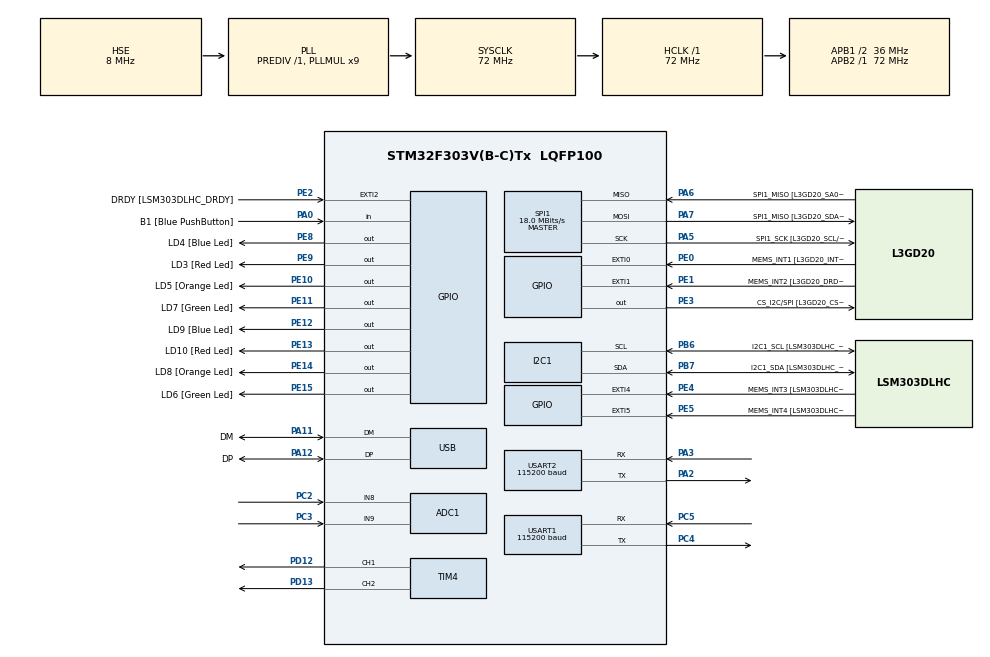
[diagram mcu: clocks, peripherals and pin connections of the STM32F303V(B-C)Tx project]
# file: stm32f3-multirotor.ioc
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ADC1.Channel-0\#ChannelRegularConversion=ADC_CHANNEL_9
ADC1.NbrOfConversionFlag=1
ADC1.Offset-0\#ChannelRegularConversion=0
ADC1.OffsetNumber-0\#ChannelRegularConversion=ADC_OFFSET_NONE
ADC1.Rank-0\#ChannelRegularConversion=1
ADC1.SamplingTime-0\#ChannelRegularConversion=ADC_SAMPLETIME_1CYCLE_5
ADC1.master=1
I2C1.Timing=0x00201D2B
I2C1.Timing-I2C=0x2000090E
Mcu.Family=STM32F3
Mcu.Name=STM32F303V(B-C)Tx
Mcu.Package=LQFP100
NVIC.ADC1_2_IRQn=true\:0\:0\:false\:false\:true\:true\:true\:true
NVIC.PriorityGroup=NVIC_PRIORITYGROUP_0
NVIC.TIM3_IRQn=true\:0\:0\:false\:false\:true\:true\:true\:true
NVIC.USART1_IRQn=true\:0\:0\:false\:false\:true\:true\:true\:true
NVIC.USART2_IRQn=true\:0\:0\:false\:false\:true\:true\:true\:true
PA0.GPIO_Label=B1 [Blue PushButton]
PA0.Signal=GPIO_Input
PA11.GPIO_Label=DM
PA11.Mode=Device
PA11.Signal=USB_DM
PA12.GPIO_Label=DP
PA12.Mode=Device
PA12.Signal=USB_DP
PA13.GPIO_Label=SWDIO
PA13.Mode=Serial_Wire
PA13.Signal=SYS_JTMS-SWDIO
PA14.GPIO_Label=SWCLK
PA14.Mode=Serial_Wire
PA14.Signal=SYS_JTCK-SWCLK
PA2.Mode=Asynchronous
PA2.Signal=USART2_TX
PA3.Mode=Asynchronous
PA3.Signal=USART2_RX
PA5.GPIO_Label=SPI1_SCK [L3GD20_SCL/SPC]
PA5.Mode=Full_Duplex_Master
PA5.Signal=SPI1_SCK
PA6.GPIO_Label=SPI1_MISO [L3GD20_SA0/SDO]
PA6.Mode=Full_Duplex_Master
PA6.Signal=SPI1_MISO
PA7.GPIO_Label=SPI1_MISO [L3GD20_SDA/SDI/SDO]
PA7.Mode=Full_Duplex_Master
PA7.Signal=SPI1_MOSI
PB3.GPIO_Label=SWO
PB3.Signal=SYS_JTDO-TRACESWO
PB6.GPIO_Label=I2C1_SCL [LSM303DLHC_SCL]
PB6.GPIO_Pu=GPIO_PULLUP
PB6.Mode=I2C
PB6.Signal=I2C1_SCL
PB7.GPIO_Label=I2C1_SDA [LSM303DLHC_SDA]
PB7.GPIO_Pu=GPIO_PULLUP
PB7.Mode=I2C
PB7.Signal=I2C1_SDA
PC14-OSC32_IN.GPIO_Label=OSC32_IN
PC14-OSC32_IN.Signal=RCC_OSC32_IN
PC15-OSC32_OUT.GPIO_Label=OSC32_OUT
PC15-OSC32_OUT.Signal=RCC_OSC32_OUT
PC2.Signal=ADCx_IN8
PC3.Signal=ADCx_IN9
PC4.Mode=Asynchronous
PC4.Signal=USART1_TX
PC5.Mode=Asynchronous
PC5.Signal=USART1_RX
PD12.Signal=S_TIM4_CH1
PD13.Signal=S_TIM4_CH2
PE0.GPIO_Label=MEMS_INT1 [L3GD20_INT1]
PE0.GPIO_ModeDefaultEXTI=GPIO_MODE_EVT_RISING
PE0.Signal=GPXTI0
PE1.GPIO_Label=MEMS_INT2 [L3GD20_DRDY/INT2]
PE1.GPIO_ModeDefaultEXTI=GPIO_MODE_EVT_RISING
PE1.Signal=GPXTI1
PE10.GPIO_Label=LD5 [Orange Led]
PE10.Signal=GPIO_Output
PE11.GPIO_Label=LD7 [Green Led]
PE11.Signal=GPIO_Output
PE12.GPIO_Label=LD9 [Blue Led]
PE12.Signal=GPIO_Output
PE13.GPIO_Label=LD10 [Red Led]
PE13.Signal=GPIO_Output
PE14.GPIO_Label=LD8 [Orange Led]
PE14.Signal=GPIO_Output
PE15.GPIO_Label=LD6 [Green Led]
PE15.Signal=GPIO_Output
PE2.GPIO_Label=DRDY [LSM303DLHC_DRDY]
PE2.GPIO_ModeDefaultEXTI=GPIO_MODE_EVT_RISING
PE2.Signal=GPXTI2
PE3.GPIO_Label=CS_I2C/SPI [L3GD20_CS_I2C/SPI]
PE3.Signal=GPIO_Output
PE4.GPIO_Label=MEMS_INT3 [LSM303DLHC_INT1]
PE4.GPIO_ModeDefaultEXTI=GPIO_MODE_EVT_RISING
PE4.Signal=GPXTI4
PE5.GPIO_Label=MEMS_INT4 [LSM303DLHC_INT2]
PE5.GPIO_ModeDefaultEXTI=GPIO_MODE_EVT_RISING
PE5.Signal=GPXTI5
PE8.GPIO_Label=LD4 [Blue Led]
PE8.Signal=GPIO_Output
PE9.GPIO_Label=LD3 [Red Led]
PE9.Signal=GPIO_Output
PF0-OSC_IN.GPIO_Label=OSC_IN
PF0-OSC_IN.Mode=HSE-External-Clock-Source
PF0-OSC_IN.Signal=RCC_OSC_IN
PF1-OSC_OUT.GPIO_Label=OSC_OUT
PF1-OSC_OUT.Signal=RCC_OSC_OUT
ProjectManager.HeapSize=0x200
ProjectManager.StackSize=0x400
ProjectManager.TargetToolchain=MDK-ARM V5.32
RCC.AHBFreq_Value=72000000
RCC.APB1CLKDivider=RCC_HCLK_DIV2
RCC.APB1Freq_Value=36000000
RCC.APB1TimFreq_Value=72000000
RCC.APB2Freq_Value=72000000
RCC.APB2TimFreq_Value=72000000
RCC.CortexFreq_Value=72000000
RCC.HCLKFreq_Value=72000000
RCC.HSE_VALUE=8000000
RCC.HSI_VALUE=8000000
RCC.LSE_VALUE=32768
RCC.PLLMUL=RCC_PLL_MUL9
RCC.PRESCALERUSB=RCC_USBCLKSOURCE_PLL_DIV1_5
RCC.SYSCLKFreq_VALUE=72000000
RCC.SYSCLKSourceVirtual=RCC_SYSCLKSOURCE_PLLCLK
RCC.USBFreq_Value=48000000
SH.ADCx_IN8.0=ADC1_IN8,IN8-Single-Ended
SH.ADCx_IN9.0=ADC1_IN9,IN9-Single-Ended
SH.S_TIM4_CH1.0=TIM4_CH1,PWM Generation1 CH1
SH.S_TIM4_CH2.0=TIM4_CH2,PWM Generation2 CH2
SPI1.BaudRatePrescaler=SPI_BAUDRATEPRESCALER_4
SPI1.BaudRatePrescaler-Full_Duplex_Master=SPI_BAUDRATEPRESCALER_2
SPI1.CalculateBaudRate=18.0 MBits/s
SPI1.CalculateBaudRate-Full_Duplex_Master=24.0 MBits/s
SPI1.Direction=SPI_DIRECTION_2LINES
SPI1.Mode=SPI_MODE_MASTER
SPI1.Mode-Full_Duplex_Master=SPI_MODE_MASTER
SPI1.VirtualType=VM_MASTER
TIM3.Period=100
TIM3.Prescaler=7200
TIM4.Channel-PWM\ Generation1\ CH1=TIM_CHANNEL_1
TIM4.Channel-PWM\ Generation2\ CH2=TIM_CHANNEL_2
USART1.BaudRate=115200
USART1.VirtualMode-Asynchronous=VM_ASYNC
USART2.BaudRate=115200
USART2.VirtualMode-Asynchronous=VM_ASYNC
VP_TIM3_VS_ClockSourceINT.Mode=Internal
VP_TIM4_VS_ClockSourceINT.Mode=Internal
board=STM32F3DISCOVERY

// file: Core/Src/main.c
/* USER CODE BEGIN Header */
/**
  ******************************************************************************
  * @file           : main.c
  * @brief          : Main program body
  ******************************************************************************
  * @attention
  *
  * Copyright (c) 2026 STMicroelectronics.
  * All rights reserved.
  *
  * This software is licensed under terms that can be found in the LICENSE file
  * in the root directory of this software component.
  * If no LICENSE file comes with this software, it is provided AS-IS.
  *
  ******************************************************************************
  */
/* USER CODE END Header */
#include "main.h"

/* USER CODE BEGIN Includes */
#include <string.h>

/* USER CODE END Includes */

ADC_HandleTypeDef hadc1;

I2C_HandleTypeDef hi2c1;

SPI_HandleTypeDef hspi1;

TIM_HandleTypeDef htim3;
TIM_HandleTypeDef htim4;

UART_HandleTypeDef huart1;
UART_HandleTypeDef huart2;

PCD_HandleTypeDef hpcd_USB_FS;

/* USER CODE BEGIN PV */
uint8_t rx_buffer[64];
uint8_t rx_index = 0;

/* USER CODE END PV */

void SystemClock_Config(void);
static void MX_GPIO_Init(void);
static void MX_ADC1_Init(void);
static void MX_I2C1_Init(void);
static void MX_SPI1_Init(void);
static void MX_TIM3_Init(void);
static void MX_TIM4_Init(void);
static void MX_USART1_UART_Init(void);
static void MX_USART2_UART_Init(void);
static void MX_USB_PCD_Init(void);

int main(void)
{

  /* MCU Configuration--------------------------------------------------------*/

  /* Reset of all peripherals, Initializes the Flash interface and the Systick. */
  HAL_Init();

  /* Configure the system clock */
  SystemClock_Config();

  /* Initialize all configured peripherals */
  MX_GPIO_Init();
  MX_ADC1_Init();
  MX_I2C1_Init();
  MX_SPI1_Init();
  MX_TIM3_Init();
  MX_TIM4_Init();
  MX_USART1_UART_Init();
  MX_USART2_UART_Init();
  MX_USB_PCD_Init();
  /* USER CODE BEGIN 2 */
	HAL_UART_Receive_IT(&huart1, &rx_buffer[rx_index], 1);

  /* USER CODE END 2 */

  /* Infinite loop */
  while (1)
  {

  }
}

void SystemClock_Config(void)
{
  RCC_OscInitTypeDef RCC_OscInitStruct = {0};
  RCC_ClkInitTypeDef RCC_ClkInitStruct = {0};
  RCC_PeriphCLKInitTypeDef PeriphClkInit = {0};

  /** Initializes the RCC Oscillators according to the specified parameters
  * in the RCC_OscInitTypeDef structure.
  */
  RCC_OscInitStruct.OscillatorType = RCC_OSCILLATORTYPE_HSI|RCC_OSCILLATORTYPE_HSE;
  RCC_OscInitStruct.HSEState = RCC_HSE_BYPASS;
  RCC_OscInitStruct.HSEPredivValue = RCC_HSE_PREDIV_DIV1;
  RCC_OscInitStruct.HSIState = RCC_HSI_ON;
  RCC_OscInitStruct.HSICalibrationValue = RCC_HSICALIBRATION_DEFAULT;
  RCC_OscInitStruct.PLL.PLLState = RCC_PLL_ON;
  RCC_OscInitStruct.PLL.PLLSource = RCC_PLLSOURCE_HSE;
  RCC_OscInitStruct.PLL.PLLMUL = RCC_PLL_MUL9;
  if (HAL_RCC_OscConfig(&RCC_OscInitStruct) != HAL_OK)
  {
    Error_Handler();
  }

  /** Initializes the CPU, AHB and APB buses clocks
  */
  RCC_ClkInitStruct.ClockType = RCC_CLOCKTYPE_HCLK|RCC_CLOCKTYPE_SYSCLK
                              |RCC_CLOCKTYPE_PCLK1|RCC_CLOCKTYPE_PCLK2;
  RCC_ClkInitStruct.SYSCLKSource = RCC_SYSCLKSOURCE_PLLCLK;
  RCC_ClkInitStruct.AHBCLKDivider = RCC_SYSCLK_DIV1;
  RCC_ClkInitStruct.APB1CLKDivider = RCC_HCLK_DIV2;
  RCC_ClkInitStruct.APB2CLKDivider = RCC_HCLK_DIV1;

  if (HAL_RCC_ClockConfig(&RCC_ClkInitStruct, FLASH_LATENCY_2) != HAL_OK)
  {
    Error_Handler();
  }
  PeriphClkInit.PeriphClockSelection = RCC_PERIPHCLK_USB|RCC_PERIPHCLK_USART1
                              |RCC_PERIPHCLK_USART2|RCC_PERIPHCLK_I2C1
                              |RCC_PERIPHCLK_ADC12;
  PeriphClkInit.Usart1ClockSelection = RCC_USART1CLKSOURCE_PCLK2;
  PeriphClkInit.Usart2ClockSelection = RCC_USART2CLKSOURCE_PCLK1;
  PeriphClkInit.Adc12ClockSelection = RCC_ADC12PLLCLK_DIV1;
  PeriphClkInit.I2c1ClockSelection = RCC_I2C1CLKSOURCE_HSI;
  PeriphClkInit.USBClockSelection = RCC_USBCLKSOURCE_PLL_DIV1_5;
  if (HAL_RCCEx_PeriphCLKConfig(&PeriphClkInit) != HAL_OK)
  {
    Error_Handler();
  }
}

static void MX_ADC1_Init(void)
{

  ADC_MultiModeTypeDef multimode = {0};
  ADC_ChannelConfTypeDef sConfig = {0};

  /** Common config
  */
  hadc1.Instance = ADC1;
  hadc1.Init.ClockPrescaler = ADC_CLOCK_ASYNC_DIV1;
  hadc1.Init.Resolution = ADC_RESOLUTION_12B;
  hadc1.Init.ScanConvMode = ADC_SCAN_DISABLE;
  hadc1.Init.ContinuousConvMode = DISABLE;
  hadc1.Init.DiscontinuousConvMode = DISABLE;
  hadc1.Init.ExternalTrigConvEdge = ADC_EXTERNALTRIGCONVEDGE_NONE;
  hadc1.Init.ExternalTrigConv = ADC_SOFTWARE_START;
  hadc1.Init.DataAlign = ADC_DATAALIGN_RIGHT;
  hadc1.Init.NbrOfConversion = 1;
  hadc1.Init.DMAContinuousRequests = DISABLE;
  hadc1.Init.EOCSelection = ADC_EOC_SINGLE_CONV;
  hadc1.Init.LowPowerAutoWait = DISABLE;
  hadc1.Init.Overrun = ADC_OVR_DATA_OVERWRITTEN;
  if (HAL_ADC_Init(&hadc1) != HAL_OK)
  {
    Error_Handler();
  }

  /** Configure the ADC multi-mode
  */
  multimode.Mode = ADC_MODE_INDEPENDENT;
  if (HAL_ADCEx_MultiModeConfigChannel(&hadc1, &multimode) != HAL_OK)
  {
    Error_Handler();
  }

  /** Configure Regular Channel
  */
  sConfig.Channel = ADC_CHANNEL_9;
  sConfig.Rank = ADC_REGULAR_RANK_1;
  sConfig.SingleDiff = ADC_SINGLE_ENDED;
  sConfig.SamplingTime = ADC_SAMPLETIME_1CYCLE_5;
  sConfig.OffsetNumber = ADC_OFFSET_NONE;
  sConfig.Offset = 0;
  if (HAL_ADC_ConfigChannel(&hadc1, &sConfig) != HAL_OK)
  {
    Error_Handler();
  }

}

static void MX_I2C1_Init(void)
{

  hi2c1.Instance = I2C1;
  hi2c1.Init.Timing = 0x00201D2B;
  hi2c1.Init.OwnAddress1 = 0;
  hi2c1.Init.AddressingMode = I2C_ADDRESSINGMODE_7BIT;
  hi2c1.Init.DualAddressMode = I2C_DUALADDRESS_DISABLE;
  hi2c1.Init.OwnAddress2 = 0;
  hi2c1.Init.OwnAddress2Masks = I2C_OA2_NOMASK;
  hi2c1.Init.GeneralCallMode = I2C_GENERALCALL_DISABLE;
  hi2c1.Init.NoStretchMode = I2C_NOSTRETCH_DISABLE;
  if (HAL_I2C_Init(&hi2c1) != HAL_OK)
  {
    Error_Handler();
  }

  /** Configure Analogue filter
  */
  if (HAL_I2CEx_ConfigAnalogFilter(&hi2c1, I2C_ANALOGFILTER_ENABLE) != HAL_OK)
  {
    Error_Handler();
  }

  /** Configure Digital filter
  */
  if (HAL_I2CEx_ConfigDigitalFilter(&hi2c1, 0) != HAL_OK)
  {
    Error_Handler();
  }

}

static void MX_SPI1_Init(void)
{

  /* SPI1 parameter configuration*/
  hspi1.Instance = SPI1;
  hspi1.Init.Mode = SPI_MODE_MASTER;
  hspi1.Init.Direction = SPI_DIRECTION_2LINES;
  hspi1.Init.DataSize = SPI_DATASIZE_4BIT;
  hspi1.Init.CLKPolarity = SPI_POLARITY_LOW;
  hspi1.Init.CLKPhase = SPI_PHASE_1EDGE;
  hspi1.Init.NSS = SPI_NSS_SOFT;
  hspi1.Init.BaudRatePrescaler = SPI_BAUDRATEPRESCALER_4;
  hspi1.Init.FirstBit = SPI_FIRSTBIT_MSB;
  hspi1.Init.TIMode = SPI_TIMODE_DISABLE;
  hspi1.Init.CRCCalculation = SPI_CRCCALCULATION_DISABLE;
  hspi1.Init.CRCPolynomial = 7;
  hspi1.Init.CRCLength = SPI_CRC_LENGTH_DATASIZE;
  hspi1.Init.NSSPMode = SPI_NSS_PULSE_ENABLE;
  if (HAL_SPI_Init(&hspi1) != HAL_OK)
  {
    Error_Handler();
  }

}

static void MX_TIM3_Init(void)
{

  TIM_ClockConfigTypeDef sClockSourceConfig = {0};
  TIM_MasterConfigTypeDef sMasterConfig = {0};

  htim3.Instance = TIM3;
  htim3.Init.Prescaler = 7200;
  htim3.Init.CounterMode = TIM_COUNTERMODE_UP;
  htim3.Init.Period = 100;
  htim3.Init.ClockDivision = TIM_CLOCKDIVISION_DIV1;
  htim3.Init.AutoReloadPreload = TIM_AUTORELOAD_PRELOAD_DISABLE;
  if (HAL_TIM_Base_Init(&htim3) != HAL_OK)
  {
    Error_Handler();
  }
  sClockSourceConfig.ClockSource = TIM_CLOCKSOURCE_INTERNAL;
  if (HAL_TIM_ConfigClockSource(&htim3, &sClockSourceConfig) != HAL_OK)
  {
    Error_Handler();
  }
  sMasterConfig.MasterOutputTrigger = TIM_TRGO_RESET;
  sMasterConfig.MasterSlaveMode = TIM_MASTERSLAVEMODE_DISABLE;
  if (HAL_TIMEx_MasterConfigSynchronization(&htim3, &sMasterConfig) != HAL_OK)
  {
    Error_Handler();
  }

}

static void MX_TIM4_Init(void)
{

  TIM_ClockConfigTypeDef sClockSourceConfig = {0};
  TIM_MasterConfigTypeDef sMasterConfig = {0};
  TIM_OC_InitTypeDef sConfigOC = {0};

  htim4.Instance = TIM4;
  htim4.Init.Prescaler = 0;
  htim4.Init.CounterMode = TIM_COUNTERMODE_UP;
  htim4.Init.Period = 65535;
  htim4.Init.ClockDivision = TIM_CLOCKDIVISION_DIV1;
  htim4.Init.AutoReloadPreload = TIM_AUTORELOAD_PRELOAD_DISABLE;
  if (HAL_TIM_Base_Init(&htim4) != HAL_OK)
  {
    Error_Handler();
  }
  sClockSourceConfig.ClockSource = TIM_CLOCKSOURCE_INTERNAL;
  if (HAL_TIM_ConfigClockSource(&htim4, &sClockSourceConfig) != HAL_OK)
  {
    Error_Handler();
  }
  if (HAL_TIM_PWM_Init(&htim4) != HAL_OK)
  {
    Error_Handler();
  }
  sMasterConfig.MasterOutputTrigger = TIM_TRGO_RESET;
  sMasterConfig.MasterSlaveMode = TIM_MASTERSLAVEMODE_DISABLE;
  if (HAL_TIMEx_MasterConfigSynchronization(&htim4, &sMasterConfig) != HAL_OK)
  {
    Error_Handler();
  }
  sConfigOC.OCMode = TIM_OCMODE_PWM1;
  sConfigOC.Pulse = 0;
  sConfigOC.OCPolarity = TIM_OCPOLARITY_HIGH;
  sConfigOC.OCFastMode = TIM_OCFAST_DISABLE;
  if (HAL_TIM_PWM_ConfigChannel(&htim4, &sConfigOC, TIM_CHANNEL_1) != HAL_OK)
  {
    Error_Handler();
  }
  if (HAL_TIM_PWM_ConfigChannel(&htim4, &sConfigOC, TIM_CHANNEL_2) != HAL_OK)
  {
    Error_Handler();
  }
  HAL_TIM_MspPostInit(&htim4);

}

static void MX_USART1_UART_Init(void)
{

  huart1.Instance = USART1;
  huart1.Init.BaudRate = 115200;
  huart1.Init.WordLength = UART_WORDLENGTH_8B;
  huart1.Init.StopBits = UART_STOPBITS_1;
  huart1.Init.Parity = UART_PARITY_NONE;
  huart1.Init.Mode = UART_MODE_TX_RX;
  huart1.Init.HwFlowCtl = UART_HWCONTROL_NONE;
  huart1.Init.OverSampling = UART_OVERSAMPLING_16;
  huart1.Init.OneBitSampling = UART_ONE_BIT_SAMPLE_DISABLE;
  huart1.AdvancedInit.AdvFeatureInit = UART_ADVFEATURE_NO_INIT;
  if (HAL_UART_Init(&huart1) != HAL_OK)
  {
    Error_Handler();
  }

}

static void MX_USART2_UART_Init(void)
{

  huart2.Instance = USART2;
  huart2.Init.BaudRate = 115200;
  huart2.Init.WordLength = UART_WORDLENGTH_8B;
  huart2.Init.StopBits = UART_STOPBITS_1;
  huart2.Init.Parity = UART_PARITY_NONE;
  huart2.Init.Mode = UART_MODE_TX_RX;
  huart2.Init.HwFlowCtl = UART_HWCONTROL_NONE;
  huart2.Init.OverSampling = UART_OVERSAMPLING_16;
  huart2.Init.OneBitSampling = UART_ONE_BIT_SAMPLE_DISABLE;
  huart2.AdvancedInit.AdvFeatureInit = UART_ADVFEATURE_NO_INIT;
  if (HAL_UART_Init(&huart2) != HAL_OK)
  {
    Error_Handler();
  }

}

static void MX_USB_PCD_Init(void)
{

  hpcd_USB_FS.Instance = USB;
  hpcd_USB_FS.Init.dev_endpoints = 8;
  hpcd_USB_FS.Init.speed = PCD_SPEED_FULL;
  hpcd_USB_FS.Init.phy_itface = PCD_PHY_EMBEDDED;
  hpcd_USB_FS.Init.low_power_enable = DISABLE;
  hpcd_USB_FS.Init.battery_charging_enable = DISABLE;
  if (HAL_PCD_Init(&hpcd_USB_FS) != HAL_OK)
  {
    Error_Handler();
  }

}

static void MX_GPIO_Init(void)
{
  GPIO_InitTypeDef GPIO_InitStruct = {0};

  /* GPIO Ports Clock Enable */
  __HAL_RCC_GPIOE_CLK_ENABLE();
  __HAL_RCC_GPIOC_CLK_ENABLE();
  __HAL_RCC_GPIOF_CLK_ENABLE();
  __HAL_RCC_GPIOA_CLK_ENABLE();
  __HAL_RCC_GPIOD_CLK_ENABLE();
  __HAL_RCC_GPIOB_CLK_ENABLE();

  /*Configure GPIO pin Output Level */
  HAL_GPIO_WritePin(GPIOE, CS_I2C_SPI_Pin|LD4_Pin|LD3_Pin|LD5_Pin
                          |LD7_Pin|LD9_Pin|LD10_Pin|LD8_Pin
                          |LD6_Pin, GPIO_PIN_RESET);

  /*Configure GPIO pins : DRDY_Pin MEMS_INT3_Pin MEMS_INT4_Pin MEMS_INT1_Pin
                           MEMS_INT2_Pin */
  GPIO_InitStruct.Pin = DRDY_Pin|MEMS_INT3_Pin|MEMS_INT4_Pin|MEMS_INT1_Pin
                          |MEMS_INT2_Pin;
  GPIO_InitStruct.Mode = GPIO_MODE_EVT_RISING;
  GPIO_InitStruct.Pull = GPIO_NOPULL;
  HAL_GPIO_Init(GPIOE, &GPIO_InitStruct);

  /*Configure GPIO pins : CS_I2C_SPI_Pin LD4_Pin LD3_Pin LD5_Pin
                           LD7_Pin LD9_Pin LD10_Pin LD8_Pin
                           LD6_Pin */
  GPIO_InitStruct.Pin = CS_I2C_SPI_Pin|LD4_Pin|LD3_Pin|LD5_Pin
                          |LD7_Pin|LD9_Pin|LD10_Pin|LD8_Pin
                          |LD6_Pin;
  GPIO_InitStruct.Mode = GPIO_MODE_OUTPUT_PP;
  GPIO_InitStruct.Pull = GPIO_NOPULL;
  GPIO_InitStruct.Speed = GPIO_SPEED_FREQ_LOW;
  HAL_GPIO_Init(GPIOE, &GPIO_InitStruct);

  /*Configure GPIO pin : B1_Pin */
  GPIO_InitStruct.Pin = B1_Pin;
  GPIO_InitStruct.Mode = GPIO_MODE_INPUT;
  GPIO_InitStruct.Pull = GPIO_NOPULL;
  HAL_GPIO_Init(B1_GPIO_Port, &GPIO_InitStruct);

}

/* USER CODE BEGIN 4 */
void HAL_UART_RxCpltCallback(UART_HandleTypeDef *huart) {
    if(huart->Instance == USART1) {
        if(rx_buffer[rx_index] == '\r' || rx_buffer[rx_index] == '\n') {
            rx_buffer[rx_index] = '\0';

            // Теперь можно сравнивать строки
            if(strcmp((char*)rx_buffer, "status") == 0) {
                char msg[] = "System OK\r\n";
                HAL_UART_Transmit_IT(&huart1, (uint8_t*)msg, strlen(msg));
            }
            else if(strcmp((char*)rx_buffer, "help") == 0) {
                char msg[] = "Commands: status, help\r\n";
                HAL_UART_Transmit_IT(&huart1, (uint8_t*)msg, strlen(msg));
            }

            rx_index = 0;
        }
        else {
            rx_index++;
            if(rx_index >= sizeof(rx_buffer)) rx_index = 0;
        }
        HAL_UART_Receive_IT(&huart1, &rx_buffer[rx_index], 1);
    }
}
/* USER CODE END 4 */

void Error_Handler(void)
{
  __disable_irq();
  while (1)
  {
  }
}
